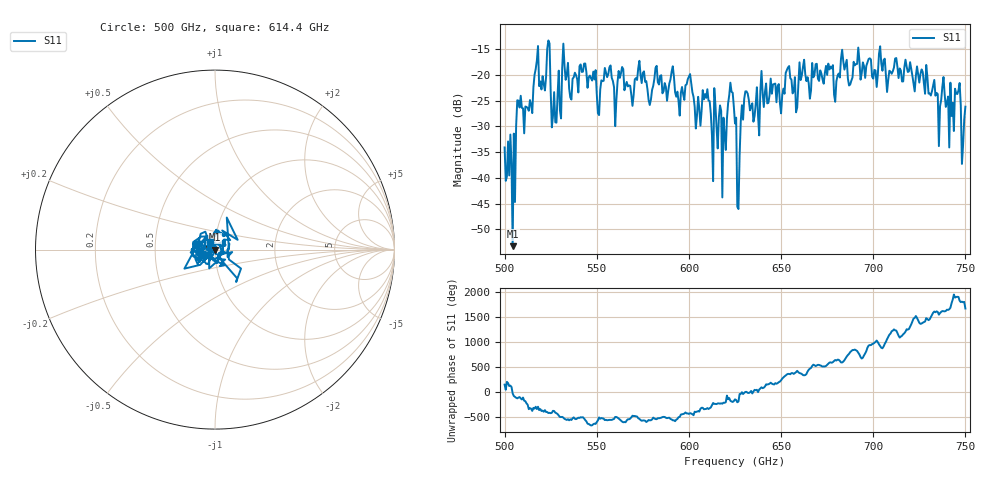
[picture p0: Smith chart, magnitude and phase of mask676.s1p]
!Created with skrf (http://scikit-rf.org).
# GHz S MA R 50.0
!freq magS11 angS11
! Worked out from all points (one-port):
!   401 points, 500 GHz to 750 GHz, reference 50 ohm
!   lowest |S11| = -53.3 dB at 504.4 GHz (marker M1), VSWR 1.00, Z = 50.2 - j0.0853 ohm
!   |S11| at or under -10 dB: start of sweep to end of sweep
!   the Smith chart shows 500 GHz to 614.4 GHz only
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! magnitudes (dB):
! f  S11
! 500 GHz  -34.1
! 504.4 GHz  -53.3
! 507.5 GHz  -25.0
! 513.8 GHz  -24.9
! 516.9 GHz  -18.9
! 520.6 GHz  -20.3
! 523.8 GHz  -13.3
! 526.9 GHz  -23.4
! 531.2 GHz  -18.5
! 542.5 GHz  -19.4
! 551.2 GHz  -27.8
! 562.5 GHz  -20.6
! 578.8 GHz  -25.9
! 590.6 GHz  -19.4
! 593.8 GHz  -23.3
! 608.8 GHz  -23.8
! 619.4 GHz  -31.6
! 622.5 GHz  -21.5
! 625 GHz  -29.5
! 626.9 GHz  -46.1
! 631.2 GHz  -23.2
! 656.2 GHz  -23.6
! 680 GHz  -21.3
! 683.8 GHz  -17.4
! 687.5 GHz  -21.9
! 718.8 GHz  -19.5
! 745.6 GHz  -23.7
! 750 GHz  -26.2
